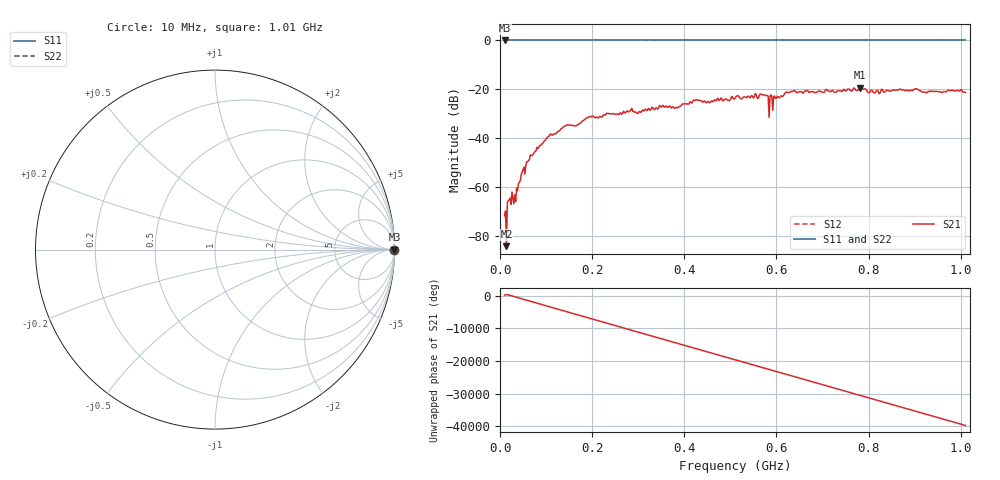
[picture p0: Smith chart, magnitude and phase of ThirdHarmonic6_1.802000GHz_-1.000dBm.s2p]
! 8/16/2025 9:49:06 PM
! C:\ANRITSUVNA\TEMP\TEMP.S2P
! CHANNEL.1
! TR.MEASUREMENT
! RAW.DATA
! RF.CORRECTION.OFF
! AVERAGING.OFF
! IF.BANDWIDTH: 5KHZ
! SWEEPTYPE:  FREQ.SWEEP(Linear)
! Reference Plane Port Info
! PORT:  PORT1  PORT2
! DISTANCE:  0  m  0  m
! TIME:  0  s  0  s
! PHASE.OFFSET:  0  deg.  0  deg.
! LOSS:  0  dB  0  dB
! REF.LOSS:  0  dB  0  dB
! REF.FREQ:  0  Hz  0  Hz
! Power Info
! POWER:  -20  dBm  -20  dBm
! EFF.POWER:  -20  dBm  -20  dBm
! SOURCE.ATTEN:  0  dB  0  dB
! TEST.ATTEN:  0  dB  0  dB
# GHZ S RI R 50.0
! FREQ.GHZ  S11RE  S11IM  S21RE  S21IM  S12RE  S12IM  S22RE  S22IM
!; PortSelection: Port_12
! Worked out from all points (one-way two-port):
!   501 points, 10 MHz to 1.01 GHz, reference 50 ohm
!   highest |S21| = -19.34 dB at 782 MHz (marker M1); lowest = -84.3 dB at 14 MHz (marker M2)
!   lowest |S11| = 0.0 dB at 10 MHz (marker M3)
!   |S11| at or under -10 dB: nowhere
!   |S22| runs from 0.0 to 0.0 dB; largest |S21 - S12| = 1.1
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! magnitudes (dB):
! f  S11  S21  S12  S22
! 10 MHz  0.0  -71.8  0.0  0.0
! 14 MHz  0.0  -84.3  0.0  0.0
! 20 MHz  0.0  -65.3  0.0  0.0
! 34 MHz  0.0  -66.1  0.0  0.0
! 48 MHz  0.0  -53.9  0.0  0.0
! 70 MHz  0.0  -47.2  0.0  0.0
! 106 MHz  0.0  -39.3  0.0  0.0
! 142 MHz  0.0  -35.0  0.0  0.0
! 178 MHz  0.0  -33.1  0.0  0.0
! 198 MHz  0.0  -31.4  0.0  0.0
! 344 MHz  0.0  -27.8  0.0  0.0
! 510 MHz  0.0  -23.7  0.0  0.0
! 570 MHz  0.0  -22.3  0.0  0.0
! 578 MHz  0.0  -22.6  0.0  0.0
! 588 MHz  0.0  -22.3  0.0  0.0
! 590 MHz  0.0  -22.9  0.0  0.0
! 622 MHz  0.0  -21.2  0.0  0.0
! 678 MHz  0.0  -21.0  0.0  0.0
! 782 MHz  0.0  -19.3  0.0  0.0
! 800 MHz  0.0  -21.5  0.0  0.0
! 844 MHz  0.0  -20.7  0.0  0.0
! 1.01 GHz  0.0  -21.2  0.0  0.0
